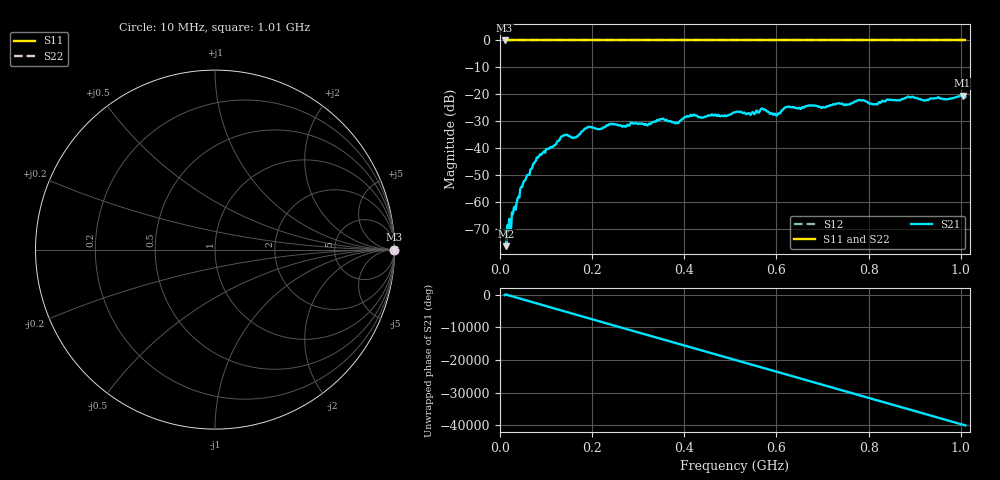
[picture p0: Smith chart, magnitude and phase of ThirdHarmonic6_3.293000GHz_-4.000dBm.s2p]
! 8/17/2025 10:14:41 AM
! C:\ANRITSUVNA\TEMP\TEMP.S2P
! CHANNEL.1
! TR.MEASUREMENT
! RAW.DATA
! RF.CORRECTION.OFF
! AVERAGING.OFF
! IF.BANDWIDTH: 5KHZ
! SWEEPTYPE:  FREQ.SWEEP(Linear)
! Reference Plane Port Info
! PORT:  PORT1  PORT2
! DISTANCE:  0  m  0  m
! TIME:  0  s  0  s
! PHASE.OFFSET:  0  deg.  0  deg.
! LOSS:  0  dB  0  dB
! REF.LOSS:  0  dB  0  dB
! REF.FREQ:  0  Hz  0  Hz
! Power Info
! POWER:  -20  dBm  -20  dBm
! EFF.POWER:  -20  dBm  -20  dBm
! SOURCE.ATTEN:  0  dB  0  dB
! TEST.ATTEN:  0  dB  0  dB
# GHZ S RI R 50.0
! FREQ.GHZ  S11RE  S11IM  S21RE  S21IM  S12RE  S12IM  S22RE  S22IM
!; PortSelection: Port_12
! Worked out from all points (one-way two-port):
!   501 points, 10 MHz to 1.01 GHz, reference 50 ohm
!   highest |S21| = -20.49 dB at 1.004 GHz (marker M1); lowest = -76.5 dB at 14 MHz (marker M2)
!   lowest |S11| = 0.0 dB at 10 MHz (marker M3)
!   |S11| at or under -10 dB: nowhere
!   |S22| runs from 0.0 to 0.0 dB; largest |S21 - S12| = 1.1
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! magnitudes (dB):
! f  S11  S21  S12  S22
! 10 MHz  0.0  -70.6  0.0  0.0
! 14 MHz  0.0  -76.5  0.0  0.0
! 48 MHz  0.0  -54.5  0.0  0.0
! 84 MHz  0.0  -43.3  0.0  0.0
! 136 MHz  0.0  -35.6  0.0  0.0
! 162 MHz  0.0  -36.1  0.0  0.0
! 178 MHz  0.0  -33.9  0.0  0.0
! 192 MHz  0.0  -32.1  0.0  0.0
! 322 MHz  0.0  -31.3  0.0  0.0
! 344 MHz  0.0  -29.7  0.0  0.0
! 384 MHz  0.0  -30.6  0.0  0.0
! 416 MHz  0.0  -28.0  0.0  0.0
! 510 MHz  0.0  -26.7  0.0  0.0
! 570 MHz  0.0  -25.3  0.0  0.0
! 598 MHz  0.0  -27.4  0.0  0.0
! 622 MHz  0.0  -24.7  0.0  0.0
! 678 MHz  0.0  -24.2  0.0  0.0
! 780 MHz  0.0  -22.1  0.0  0.0
! 814 MHz  0.0  -23.6  0.0  0.0
! 844 MHz  0.0  -22.0  0.0  0.0
! 1.004 GHz  0.0  -20.5  0.0  0.0
! 1.01 GHz  0.0  -21.1  0.0  0.0
